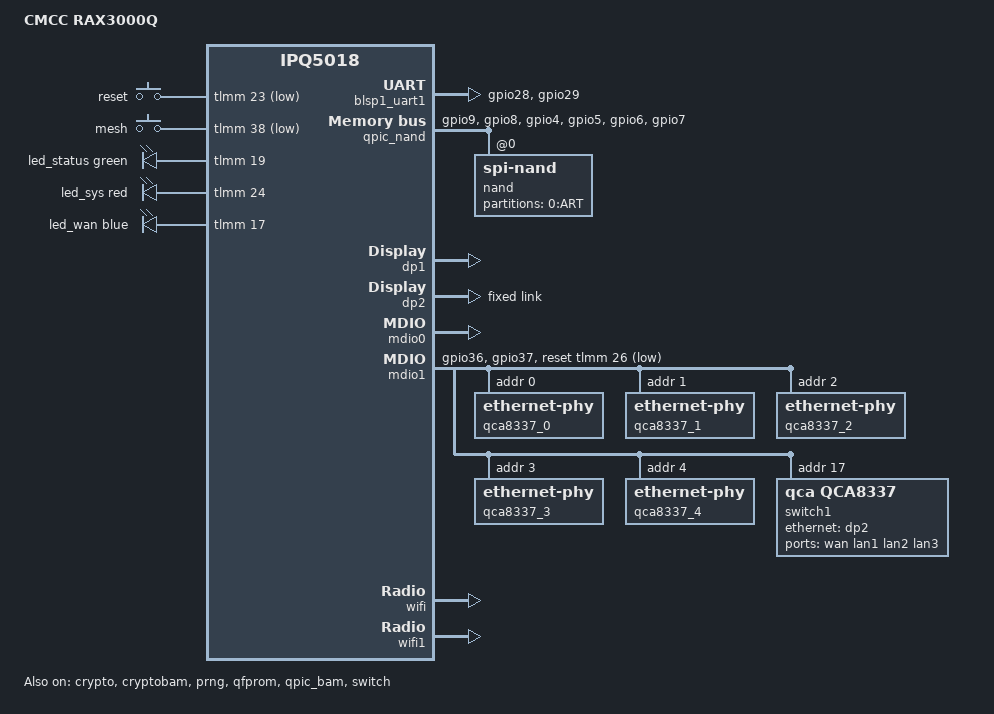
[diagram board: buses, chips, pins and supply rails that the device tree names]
// SPDX-License-Identifier: GPL-2.0-or-later OR MIT

/dts-v1/;

#include "ipq5018.dtsi"
#include "ipq5018-ess.dtsi"
#include "ipq5018-qcn6122.dtsi"

#include <dt-bindings/gpio/gpio.h>
#include <dt-bindings/input/input.h>
#include <dt-bindings/leds/common.h>

/ {
	model = "CMCC RAX3000Q";
	compatible = "cmcc,rax3000q", "qcom,ipq5018";

	aliases {
		serial0 = &blsp1_uart1;

		led-boot = &led_status;
		led-failsafe = &led_status;
		led-running = &led_status;
		led-upgrade = &led_wan;

		label-mac-device = <&dp1>;
	};

	chosen {
		bootargs-append = " root=/dev/ubiblock0_1 swiotlb=1 coherent_pool=2M";
		stdout-path = "serial0:115200n8";
	};

	reserved-memory {
		tz_apps@4a400000 {
			no-map;
			reg = <0x0 0x4a400000 0x0 0x700000>;
		};

		q6_mem_regions: q6_mem_regions@4b000000 {
			no-map;
			reg = <0x0 0x4b000000 0x0 0x3000000>;
		};
	};

	keys {
		compatible = "gpio-keys";
		pinctrl-0 = <&button_pins>;
		pinctrl-names = "default";

		reset-button {
			label = "reset";
			gpios = <&tlmm 23 GPIO_ACTIVE_LOW>;
			linux,code = <KEY_RESTART>;
		};

		mesh-button {
			label = "mesh";
			gpios = <&tlmm 38 GPIO_ACTIVE_LOW>;
			linux,code = <KEY_WPS_BUTTON>;
		};
	};

	leds {
		compatible = "gpio-leds";
		pinctrl-0 = <&led_pins>;
		pinctrl-names = "default";

		led_status: led-status {
			gpios = <&tlmm 19 GPIO_ACTIVE_HIGH>;
			color = <LED_COLOR_ID_GREEN>;
			function = LED_FUNCTION_STATUS;
			default-state = "on";
		};

		led_sys: led-sys {
			gpios = <&tlmm 24 GPIO_ACTIVE_HIGH>;
			color = <LED_COLOR_ID_RED>;
			function = LED_FUNCTION_STATUS;
		};

		led_wan: led-wan {
			gpios = <&tlmm 17 GPIO_ACTIVE_HIGH>;
			color = <LED_COLOR_ID_BLUE>;
			function = LED_FUNCTION_INTERNET;
		};
	};
};

&sleep_clk {
	clock-frequency = <32000>;
};

&xo_board_clk {
	clock-div = <4>;
	clock-mult = <1>;
};

&blsp1_uart1 {
	status = "okay";

	pinctrl-0 = <&serial_0_pins>;
	pinctrl-names = "default";
};

&crypto {
	status = "okay";
};

&cryptobam {
	status = "okay";
};

&prng {
	status = "okay";
};

&qfprom {
	status = "okay";
};

&qpic_bam {
	status = "okay";
};

&qpic_nand {
	pinctrl-0 = <&qpic_pins>;
	pinctrl-names = "default";
	status = "okay";

	nand@0 {
		compatible = "spi-nand";
		reg = <0>;
		nand-ecc-engine = <&qpic_nand>;
		nand-bus-width = <8>;

		partitions {
			compatible = "qcom,smem-part";

			partition-art {
				label = "0:ART";
				read-only;

				nvmem-layout {
					compatible = "fixed-layout";
					#address-cells = <1>;
					#size-cells = <1>;

					hw_mac_addr: mac-address@0 {
						compatible = "mac-base";
						reg = <0x0 0x6>;
						#nvmem-cell-cells = <1>;
					};

					caldata0: caldata@1000 {
						reg = <0x1000 0x20000>;
					};

					caldata1: caldata@26800 {
						reg = <0x26800 0x20000>;
					};
				};
			};
		};
	};
};

&switch {
	status = "okay";

	switch_mac_mode = <MAC_MODE_SGMII_CHANNEL0>;

	qcom,port_phyinfo {
		/* MAC0 -> GE PHY --- MDI --- QCA8337 PHY2 */
		port@0 {
			port_id = <1>;
			mdiobus = <&mdio0>;
			phy_address = <7>;
		};

		/* MAC1 -> Uniphy --- SGMII --- QCA8337 SerDes (Port6) */
		port@1 {
			port_id = <2>;
			mdiobus = <&mdio1>;
			forced-speed = <1000>;
			forced-duplex = <1>;
		};
	};
};

/* MAC0 -> GE PHY */
&dp1 {
	status = "okay";

	nvmem-cells = <&hw_mac_addr 0>;
	nvmem-cell-names = "mac-address";

	local-mac-address = [00 00 00 00 00 00];
};

/* MAC1 -> SGMII -> QCA8337 */
&dp2 {
	status = "okay";

	nvmem-cells = <&hw_mac_addr 1>;
	nvmem-cell-names = "mac-address";

	local-mac-address = [00 00 00 00 00 00];

	fixed-link {
		speed = <1000>;
		full-duplex;
	};
};

&mdio0 {
	status = "okay";
};

/* IPQ5018 internal GE PHY towards QCA8337 */
&ge_phy {
	qcom,dac-preset-short-cable;
};

&mdio1 {
	status = "okay";

	pinctrl-0 = <&mdio1_pins>;
	pinctrl-names = "default";
	reset-gpios = <&tlmm 26 GPIO_ACTIVE_LOW>;

	/* QCA8337 PHY0 -> WAN */
	qca8337_0: ethernet-phy@0 {
		reg = <0>;
	};

	/* QCA8337 PHY1 -> LAN1 */
	qca8337_1: ethernet-phy@1 {
		reg = <1>;
	};

	/* QCA8337 PHY2 -> IPQ5018 GE PHY */
	qca8337_2: ethernet-phy@2 {
		reg = <2>;
	};

	/* QCA8337 PHY3 -> LAN2 */
	qca8337_3: ethernet-phy@3 {
		reg = <3>;
	};

	/* QCA8337 PHY4 -> LAN3 */
	qca8337_4: ethernet-phy@4 {
		reg = <4>;
	};

	switch1: ethernet-switch@17 {
		compatible = "qca,qca8337";
		reg = <17>;
		#address-cells = <1>;
		#size-cells = <0>;

		ports {
			#address-cells = <1>;
			#size-cells = <0>;

			port@1 {
				reg = <1>;
				label = "wan";
				phy-handle = <&qca8337_0>;
			};

			port@2 {
				reg = <2>;
				label = "lan1";
				phy-handle = <&qca8337_1>;
			};

			port@3 {
				reg = <3>;
				label = "lan2";
				phy-handle = <&qca8337_3>;
			};

			port@4 {
				reg = <4>;
				label = "lan3";
				phy-handle = <&qca8337_4>;
			};

			port@6 {
				reg = <6>;
				phy-mode = "sgmii";
				ethernet = <&dp2>;
				qca,sgmii-enable-pll;

				fixed-link {
					speed = <1000>;
					full-duplex;
				};
			};
		};
	};
};

&tlmm {
	button_pins: button-state {
		button-pins {
			pins = "gpio23", "gpio38";
			function = "gpio";
			drive-strength = <8>;
			bias-pull-up;
		};
	};

	led_pins: led-state {
		pins = "gpio24", "gpio19", "gpio17";
		function = "gpio";
		drive-strength = <8>;
		bias-pull-down;
	};

	mdio1_pins: mdio-state {
		mdc-pins {
			pins = "gpio36";
			function = "mdc";
			drive-strength = <8>;
			bias-pull-up;
		};

		mdio-pins {
			pins = "gpio37";
			function = "mdio";
			drive-strength = <8>;
			bias-pull-up;
		};
	};

	qpic_pins: qpic-state {
		clock-pins {
			pins = "gpio9";
			function = "qspi_clk";
			drive-strength = <8>;
			bias-disable;
		};

		cs-pins {
			pins = "gpio8";
			function = "qspi_cs";
			drive-strength = <8>;
			bias-disable;
		};

		data-pins {
			pins = "gpio4", "gpio5", "gpio6", "gpio7";
			function = "qspi_data";
			drive-strength = <8>;
			bias-disable;
		};
	};

	serial_0_pins: uart0-state {
		pins = "gpio28", "gpio29";
		function = "blsp0_uart1";
		drive-strength = <8>;
		bias-disable;
	};

	switch_reset_pins: switch-reset-state {
		pins = "gpio26";
		function = "gpio";
		drive-strength = <8>;
		bias-pull-down;
	};
};

/* WiFi: upstream ath11k + nvmem caldata */

&wifi {
	qcom,board_id = <0x24>;
	qcom,ath11k-calibration-variant = "CMCC-RAX3000Q";
	qcom,ath11k-fw-memory-mode = <1>;

	nvmem-cells = <&caldata0>;
	nvmem-cell-names = "calibration";

	ieee80211-freq-limit = <2400000 2483500>;

	status = "okay";
};

&wifi1 {
	qcom,board_id = <0x60>;
	qcom,ath11k-calibration-variant = "CMCC-RAX3000Q";
	qcom,ath11k-fw-memory-mode = <1>;

	nvmem-cells = <&caldata1>;
	nvmem-cell-names = "calibration";

	ieee80211-freq-limit = <5170000 5835000>;

	status = "okay";
};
